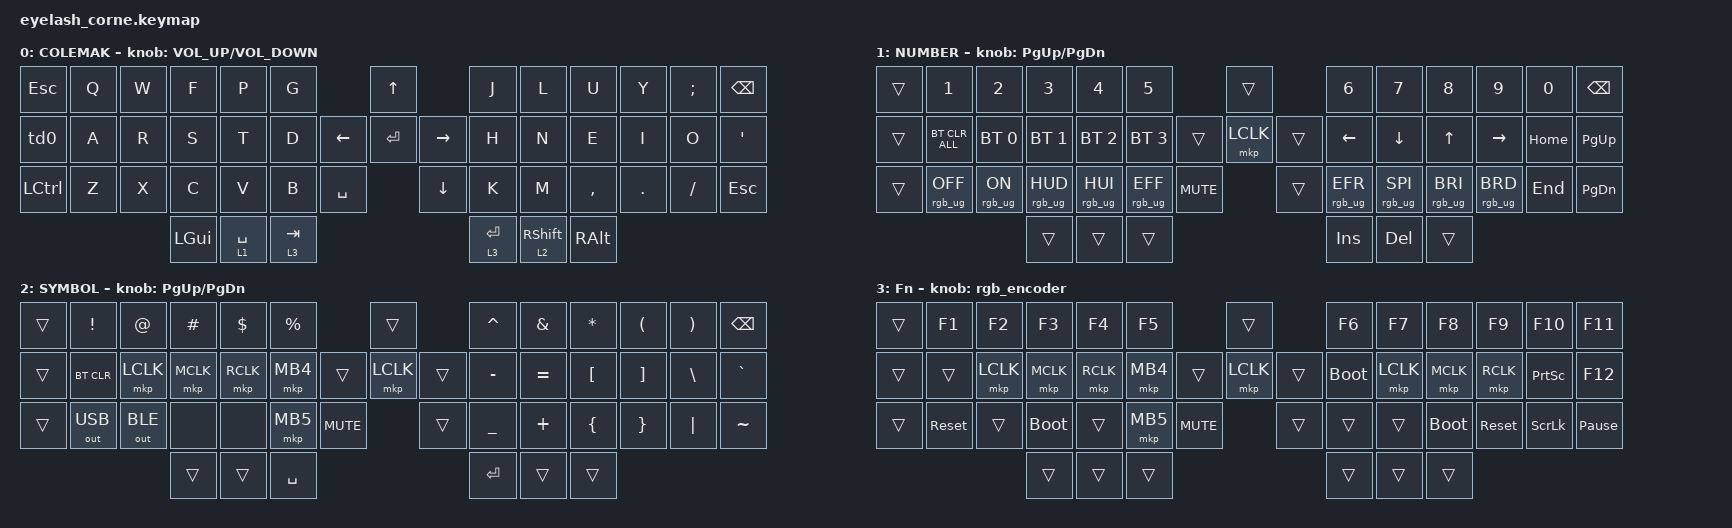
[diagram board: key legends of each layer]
#include <dt-bindings/zmk/mouse.h>
#include <behaviors.dtsi>
#include <dt-bindings/zmk/bt.h>
#include <dt-bindings/zmk/keys.h>
#include <dt-bindings/zmk/outputs.h>
#include <dt-bindings/zmk/pointing.h>
#include <dt-bindings/zmk/rgb.h>

/ {
    behaviors {
        td0: td0 {
            compatible = "zmk,behavior-tap-dance";
            #binding-cells = <0>;
            bindings = <&kp LEFT_SHIFT>, <&kp CAPS>;
        };
    };

    rgb_encoder: rgb_encoder {
        compatible = "zmk,behavior-sensor-rotate";
        #sensor-binding-cells = <0>;
        bindings = <&rgb_ug RGB_BRI>, <&rgb_ug RGB_BRD>;
    };

    keymap {
        compatible = "zmk,keymap";

        default_layer {
            display-name = "COLEMAK";
            bindings = <
&kp ESCAPE  &kp Q  &kp W  &kp F     &kp P        &kp G                             &kp UP                &kp J        &kp L              &kp U      &kp Y    &kp SEMI  &kp BSPC
&td0        &kp A  &kp R  &kp S     &kp T        &kp D                   &kp LEFT  &kp ENTER  &kp RIGHT  &kp H        &kp N              &kp E      &kp I    &kp O     &kp SQT
&kp LCTRL   &kp Z  &kp X  &kp C     &kp V        &kp B      &kp SPACE              &kp DOWN              &kp K        &kp M              &kp COMMA  &kp DOT  &kp FSLH  &kp ESC
                          &kp LGUI  &lt 1 SPACE  &lt 3 TAB                                               &lt 3 ENTER  &lt 2 RIGHT_SHIFT  &kp RALT
            >;

            sensor-bindings = <&inc_dec_kp C_VOLUME_UP C_VOLUME_DOWN>;
        };

        lower_layer {
            display-name = "NUMBER";
            bindings = <
&trans  &kp N1           &kp N2          &kp N3           &kp N4           &kp N5                                 &trans             &kp N6           &kp N7           &kp N8           &kp N9           &kp N0    &kp BSPC
&trans  &bt BT_CLR_ALL   &bt BT_SEL 0    &bt BT_SEL 1     &bt BT_SEL 2     &bt BT_SEL 3                   &trans  &mkp LCLK  &trans  &kp LEFT         &kp DOWN         &kp UP           &kp RIGHT        &kp HOME  &kp PG_UP
&trans  &rgb_ug RGB_OFF  &rgb_ug RGB_ON  &rgb_ug RGB_HUD  &rgb_ug RGB_HUI  &rgb_ug RGB_EFF  &kp C_MUTE            &trans             &rgb_ug RGB_EFR  &rgb_ug RGB_SPI  &rgb_ug RGB_BRI  &rgb_ug RGB_BRD  &kp END   &kp PG_DN
                                         &trans           &trans           &trans                                                    &kp INS          &kp DEL          &trans
            >;

            sensor-bindings = <&inc_dec_kp PG_UP PG_DN>;
        };

        raise_layer {
            display-name = "SYMBOL";
            bindings = <
&trans  &kp EXCL      &kp AT        &kp HASH   &kp DLLR   &kp PRCNT                        &trans             &kp CARET  &kp AMPS   &kp ASTRK  &kp LPAR  &kp RPAR  &kp BSPC
&trans  &bt BT_CLR    &mkp LCLK     &mkp MCLK  &mkp RCLK  &mkp MB4                 &trans  &mkp LCLK  &trans  &kp MINUS  &kp EQUAL  &kp LBKT   &kp RBKT  &kp BSLH  &kp GRAVE
&trans  &out OUT_USB  &out OUT_BLE  &none      &none      &mkp MB5   &kp C_MUTE            &trans             &kp UNDER  &kp PLUS   &kp LBRC   &kp RBRC  &kp PIPE  &kp TILDE
                                    &trans     &trans     &kp SPACE                                           &kp RET    &trans     &trans
            >;

            sensor-bindings = <&inc_dec_kp PG_UP PG_DN>;
        };

        layer_3 {
            display-name = "Fn";
            bindings = <
&trans  &kp F1      &kp F2     &kp F3       &kp F4     &kp F5                          &trans             &kp F6       &kp F7     &kp F8       &kp F9      &kp F10          &kp F11
&trans  &trans      &mkp LCLK  &mkp MCLK    &mkp RCLK  &mkp MB4                &trans  &mkp LCLK  &trans  &bootloader  &mkp LCLK  &mkp MCLK    &mkp RCLK   &kp PRINTSCREEN  &kp F12
&trans  &sys_reset  &trans     &bootloader  &trans     &mkp MB5  &kp C_MUTE            &trans             &trans       &trans     &bootloader  &sys_reset  &kp SCROLLLOCK   &kp PAUSE_BREAK
                               &trans       &trans     &trans                                             &trans       &trans     &trans
            >;

            sensor-bindings = <&rgb_encoder>;
        };
    };
};
